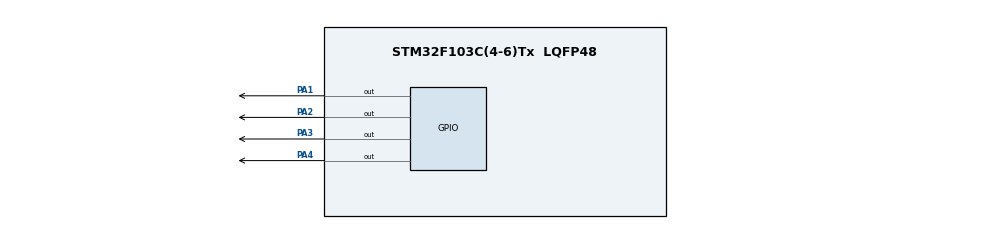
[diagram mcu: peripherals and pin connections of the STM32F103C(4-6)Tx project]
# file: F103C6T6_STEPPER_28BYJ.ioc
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Mcu.Family=STM32F1
Mcu.Name=STM32F103C(4-6)Tx
Mcu.Package=LQFP48
NVIC.PriorityGroup=NVIC_PRIORITYGROUP_4
PA1.Signal=GPIO_Output
PA13.Mode=Serial_Wire
PA13.Signal=SYS_JTMS-SWDIO
PA14.Mode=Serial_Wire
PA14.Signal=SYS_JTCK-SWCLK
PA2.Signal=GPIO_Output
PA3.Signal=GPIO_Output
PA4.Signal=GPIO_Output
PD0-OSC_IN.Mode=HSE-External-Oscillator
PD0-OSC_IN.Signal=RCC_OSC_IN
PD1-OSC_OUT.Mode=HSE-External-Oscillator
PD1-OSC_OUT.Signal=RCC_OSC_OUT
ProjectManager.HeapSize=0x200
ProjectManager.StackSize=0x400
ProjectManager.TargetToolchain=STM32CubeIDE
RCC.APB1Freq_Value=8000000
RCC.APB2Freq_Value=8000000
TIM1.Period=0xffff-1
TIM1.Prescaler=72-1
VP_TIM1_VS_ClockSourceINT.Mode=Internal
board=custom

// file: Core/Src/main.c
/* USER CODE BEGIN Header */
/**
  ******************************************************************************
  * @file           : main.c
  * @brief          : Main program body
  ******************************************************************************
  * @attention
  *
  * Copyright (c) 2023 STMicroelectronics.
  * All rights reserved.
  *
  * This software is licensed under terms that can be found in the LICENSE file
  * in the root directory of this software component.
  * If no LICENSE file comes with this software, it is provided AS-IS.
  *
  ******************************************************************************
  */
/* USER CODE END Header */
#include "main.h"

TIM_HandleTypeDef htim1;

void SystemClock_Config(void);
static void MX_GPIO_Init(void);
static void MX_TIM1_Init(void);

/* USER CODE BEGIN 0 */
void delay (uint16_t us)
{
	__HAL_TIM_SET_COUNTER(&htim1, 0);
	while (__HAL_TIM_GET_COUNTER(&htim1) < us);
}

const GPIO_PinState states[8][4] = {
	{1, 0, 0, 0},
	{1, 1, 0, 0},
	{0, 1, 0, 0},
	{0, 1, 1, 0},
	{0, 0, 1, 0},
	{0, 0, 1, 1},
	{0, 0, 0, 1},
	{1, 0, 0, 1}
};

void stepper_half_drive (int step)
{
	HAL_GPIO_WritePin(GPIOA, GPIO_PIN_1, states[step][0]);   // IN1
	HAL_GPIO_WritePin(GPIOA, GPIO_PIN_2, states[step][1]);   // IN2
	HAL_GPIO_WritePin(GPIOA, GPIO_PIN_3, states[step][2]);   // IN3
	HAL_GPIO_WritePin(GPIOA, GPIO_PIN_4, states[step][3]);   // IN4
}

/* USER CODE END 0 */

int main(void)
{

  /* MCU Configuration--------------------------------------------------------*/

  /* Reset of all peripherals, Initializes the Flash interface and the Systick. */
  HAL_Init();

  /* Configure the system clock */
  SystemClock_Config();

  /* Initialize all configured peripherals */
  MX_GPIO_Init();
  MX_TIM1_Init();
  /* USER CODE BEGIN 2 */

  HAL_TIM_Base_Start(&htim1);

  uint16_t numStepsPerRev = 4096;
  uint16_t rpm = 14;
  uint16_t delayPerStep = 60000000 / numStepsPerRev / rpm;

  /* USER CODE END 2 */

  /* Infinite loop */
  while (1)
  {

    /* USER CODE BEGIN 3 */
	  for(int i = 0; i < 512; i++) {
		  for(int s = 0; s < 8; s++) {
			  stepper_half_drive(s);
			  delay(delayPerStep);
		  }
	  }
  }
  /* USER CODE END 3 */
}

void SystemClock_Config(void)
{
  RCC_OscInitTypeDef RCC_OscInitStruct = {0};
  RCC_ClkInitTypeDef RCC_ClkInitStruct = {0};

  /** Initializes the RCC Oscillators according to the specified parameters
  * in the RCC_OscInitTypeDef structure.
  */
  RCC_OscInitStruct.OscillatorType = RCC_OSCILLATORTYPE_HSI;
  RCC_OscInitStruct.HSIState = RCC_HSI_ON;
  RCC_OscInitStruct.HSICalibrationValue = RCC_HSICALIBRATION_DEFAULT;
  RCC_OscInitStruct.PLL.PLLState = RCC_PLL_NONE;
  if (HAL_RCC_OscConfig(&RCC_OscInitStruct) != HAL_OK)
  {
    Error_Handler();
  }

  /** Initializes the CPU, AHB and APB buses clocks
  */
  RCC_ClkInitStruct.ClockType = RCC_CLOCKTYPE_HCLK|RCC_CLOCKTYPE_SYSCLK
                              |RCC_CLOCKTYPE_PCLK1|RCC_CLOCKTYPE_PCLK2;
  RCC_ClkInitStruct.SYSCLKSource = RCC_SYSCLKSOURCE_HSI;
  RCC_ClkInitStruct.AHBCLKDivider = RCC_SYSCLK_DIV1;
  RCC_ClkInitStruct.APB1CLKDivider = RCC_HCLK_DIV1;
  RCC_ClkInitStruct.APB2CLKDivider = RCC_HCLK_DIV1;

  if (HAL_RCC_ClockConfig(&RCC_ClkInitStruct, FLASH_LATENCY_0) != HAL_OK)
  {
    Error_Handler();
  }
}

static void MX_TIM1_Init(void)
{

  TIM_ClockConfigTypeDef sClockSourceConfig = {0};
  TIM_MasterConfigTypeDef sMasterConfig = {0};

  htim1.Instance = TIM1;
  htim1.Init.Prescaler = 72-1;
  htim1.Init.CounterMode = TIM_COUNTERMODE_UP;
  htim1.Init.Period = 0xffff-1;
  htim1.Init.ClockDivision = TIM_CLOCKDIVISION_DIV1;
  htim1.Init.RepetitionCounter = 0;
  htim1.Init.AutoReloadPreload = TIM_AUTORELOAD_PRELOAD_DISABLE;
  if (HAL_TIM_Base_Init(&htim1) != HAL_OK)
  {
    Error_Handler();
  }
  sClockSourceConfig.ClockSource = TIM_CLOCKSOURCE_INTERNAL;
  if (HAL_TIM_ConfigClockSource(&htim1, &sClockSourceConfig) != HAL_OK)
  {
    Error_Handler();
  }
  sMasterConfig.MasterOutputTrigger = TIM_TRGO_RESET;
  sMasterConfig.MasterSlaveMode = TIM_MASTERSLAVEMODE_DISABLE;
  if (HAL_TIMEx_MasterConfigSynchronization(&htim1, &sMasterConfig) != HAL_OK)
  {
    Error_Handler();
  }

}

static void MX_GPIO_Init(void)
{
  GPIO_InitTypeDef GPIO_InitStruct = {0};

  /* GPIO Ports Clock Enable */
  __HAL_RCC_GPIOD_CLK_ENABLE();
  __HAL_RCC_GPIOA_CLK_ENABLE();

  /*Configure GPIO pin Output Level */
  HAL_GPIO_WritePin(GPIOA, GPIO_PIN_1|GPIO_PIN_2|GPIO_PIN_3|GPIO_PIN_4, GPIO_PIN_RESET);

  /*Configure GPIO pins : PA1 PA2 PA3 PA4 */
  GPIO_InitStruct.Pin = GPIO_PIN_1|GPIO_PIN_2|GPIO_PIN_3|GPIO_PIN_4;
  GPIO_InitStruct.Mode = GPIO_MODE_OUTPUT_PP;
  GPIO_InitStruct.Pull = GPIO_NOPULL;
  GPIO_InitStruct.Speed = GPIO_SPEED_FREQ_LOW;
  HAL_GPIO_Init(GPIOA, &GPIO_InitStruct);

}

void Error_Handler(void)
{
  __disable_irq();
  while (1)
  {
  }
}
